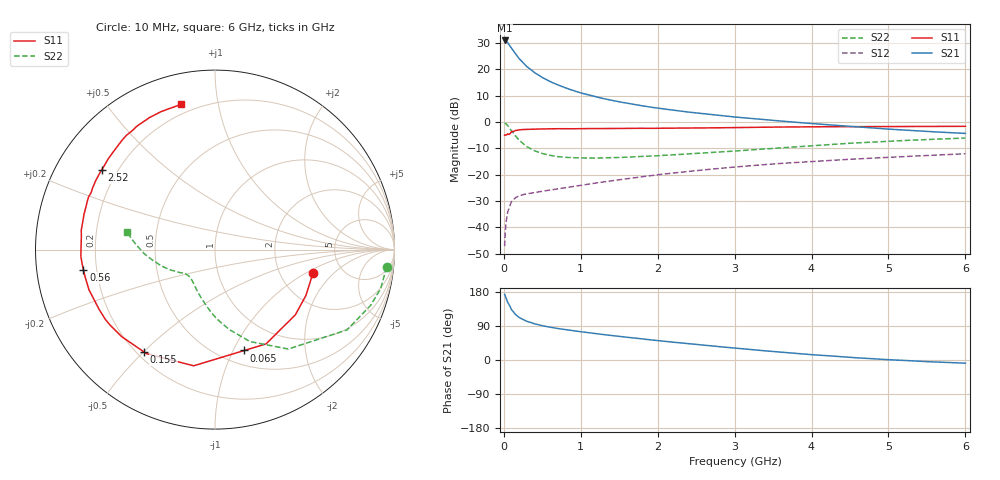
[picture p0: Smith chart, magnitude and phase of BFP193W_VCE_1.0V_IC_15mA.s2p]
! Infineon Technologies  Discrete & RF Semiconductors
! BFP193W
! VCE = 1.0 V,  IC =  15 mA
! Common Emitter S-Parameters:  Jan 2016
# GHz  S  MA  R  50
!  f  S11  S21  S12  S22
! GHz  MAG  ANG  MAG  ANG  MAG  ANG  MAG  ANG
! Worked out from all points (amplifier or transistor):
!   210 points, 10 MHz to 6 GHz, reference 50 ohm
!   highest |S21| = 31.0 dB at 10 MHz (marker M1)
!   |S21| within 3 dB of that: start of sweep to 102.4 MHz
!   unconditionally stable (mu >= 1): 981.5 MHz to 5.5 GHz
!   at 185 MHz: K = 0.29, MSG = 26.4 dB, |S12| = -28.2 dB
!   at 1.52 GHz: K = 1.14, MAG = 12.4 dB, |S12| = -21.8 dB
!   at 6 GHz: K = 0.98, MSG = 3.9 dB, |S12| = -12.0 dB
!   S11 on the Smith chart (normalised r, x): 10 MHz: 3.08, -1.16; 65 MHz: 0.65, -1.11; 155 MHz: 0.23, -0.50; 560 MHz: 0.15, -0.07; 2.52 GHz: 0.14, +0.31; 6 GHz: 0.15, +0.78
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0.01  0.5615 -13.3  35.46 173.3  0.0044 86.5  0.9616 -5.8
0.02  0.5675 -26.8  35.19 168.2  0.0088 79.4  0.948 -13.3
0.03  0.5766 -39.1  34.44 162.7  0.0128 75.5  0.9216 -19.6
0.05  0.5974 -61.6  32.1 152.1  0.0195 65.9  0.8611 -31.3
0.065  0.5853 -73.8  29.77 147.2  0.0227 59.3  0.7976 -36.9
0.1  0.6582 -100.4  25.4 132.7  0.031 49.5  0.6881 -53.6
0.15  0.694 -123.3  19.91 119.9  0.0366 41.1  0.5482 -69.2
0.155  0.6939 -124.7  19.5 119.2  0.0369 40.7  0.5379 -70.1
0.2  0.7111 -137.0  15.98 111.9  0.0398 37.0  0.4522 -79.9
0.24  0.7204 -144.5  13.84 107.4  0.0415 34.7  0.401 -86.3
0.3  0.7265 -152.8  11.26 101.9  0.0434 33.2  0.3408 -94.9
0.4  0.737 -162.3  8.663 95.3  0.046 32.8  0.2845 -105.0
0.56  0.7417 -171.3  6.334 88.2  0.0501 35.5  0.2409 -116.1
0.8  0.7466 179.6  4.455 80.1  0.0567 39.5  0.214 -126.6
1.02  0.749 173.8  3.515 74.1  0.0635 42.7  0.2083 -132.8
1.4  0.7557 165.3  2.593 64.6  0.0768 46.5  0.2114 -139.2
2.02  0.7635 153.3  1.823 50.8  0.1007 49.0  0.231 -146.0
2.52  0.7716 144.8  1.48 40.7  0.1205 48.3  0.2544 -151.8
3.1  0.7872 135.5  1.212 29.7  0.144 46.2  0.2885 -158.9
4.1  0.8145 121.2  0.915 12.8  0.1823 40.7  0.3622 -172.0
5.1  0.8252 110.6  0.72 -0.1  0.2175 34.8  0.4396 176.5
6  0.8304 103.2  0.609 -8.4  0.2503 29.7  0.4976 168.9
